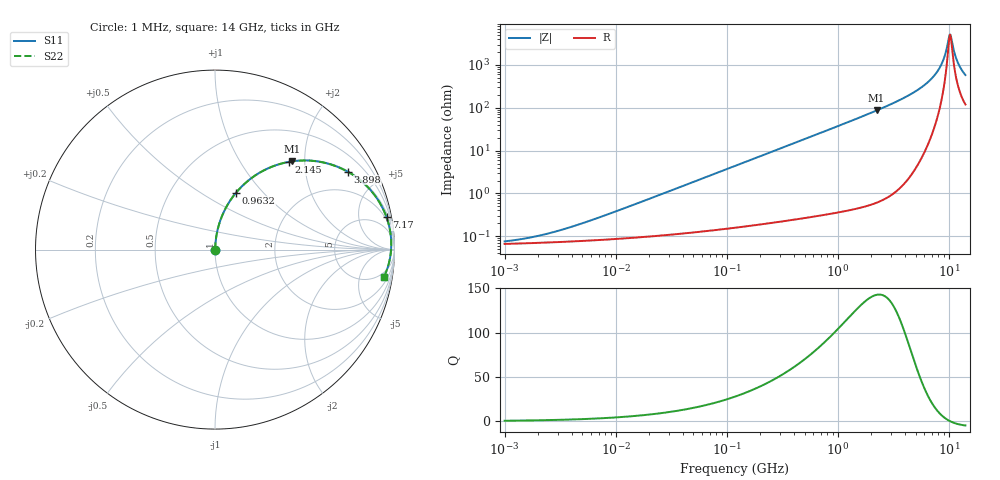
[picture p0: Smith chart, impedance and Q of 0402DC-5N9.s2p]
# MHz  S  MA  R  50
!Freq  MagS11  AngS11  MagS21  AngS21  MagS12  AngS12  MagS22  AngS22
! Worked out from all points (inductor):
!   801 points, 1 MHz to 14 GHz, reference 50 ohm
!   read as one part in series: L = 5.9 nH near 6.605 MHz
!   highest Q = 143 at 2.223 GHz (marker M1), where L = 6.2 nH
!   self-resonance near 10.14 GHz
!   S11 on the Smith chart (normalised r, x): 1 MHz: 1.00, +0.00; 963.2 MHz: 1.01, +0.72; 2.145 GHz: 1.01, +1.66; 3.898 GHz: 1.03, +3.39; 7.17 GHz: 2, +10; 14 GHz: 3, -11
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1  0.0007591 29.2  0.9993 -0.0  0.9993 -0.0  0.0007591 29.2
2.148335  0.001064 48.4  0.9993 -0.0  0.9993 -0.0  0.001064 48.4
4.958368  0.001994 67.0  0.9992 -0.1  0.9992 -0.1  0.001994 67.0
24.29341  0.009055 83.0  0.9989 -0.5  0.9989 -0.5  0.009055 83.0
119.025  0.04405 85.4  0.9974 -2.5  0.9974 -2.5  0.04405 85.4
583.1601  0.2114 77.0  0.9746 -12.2  0.9746 -12.2  0.2114 77.0
963.2296  0.3379 69.7  0.9379 -19.7  0.9379 -19.7  0.3379 69.7
1445.969  0.4783 61.0  0.8744 -28.6  0.8744 -28.6  0.4783 61.0
2144.861  0.6374 50.0  0.7661 -39.6  0.7661 -39.6  0.6374 50.0
2223.138  0.6521 48.9  0.7536 -40.7  0.7536 -40.7  0.6521 48.9
2857.179  0.7518 40.8  0.6539 -48.7  0.6539 -48.7  0.7518 40.8
3898.109  0.8574 30.4  0.5065 -59.0  0.5065 -59.0  0.8574 30.4
5512.362  0.939 19.0  0.3251 -69.8  0.3251 -69.8  0.939 19.0
7169.648  0.9727 10.7  0.1853 -76.2  0.1853 -76.2  0.9727 10.7
8576.977  0.9821 5.2  0.09157 -76.1  0.09157 -76.1  0.9821 5.2
9104.995  0.9829 3.4  0.06128 -72.1  0.06128 -72.1  0.9829 3.4
9781.699  0.9822 1.3  0.02818 -50.3  0.02818 -50.3  0.9822 1.3
10138.68  0.9813 0.2  0.01903 -10.6  0.01903 -10.6  0.9813 0.2
10508.7  0.9799 -0.9  0.02493 35.9  0.02493 35.9  0.9799 -0.9
11289.73  0.9759 -3.0  0.05648 63.3  0.05648 63.3  0.9759 -3.0
11984.75  0.9712 -4.7  0.08595 68.1  0.08595 68.1  0.9712 -4.7
14000  0.9534 -9.2  0.1638 68.9  0.1638 68.9  0.9534 -9.2
